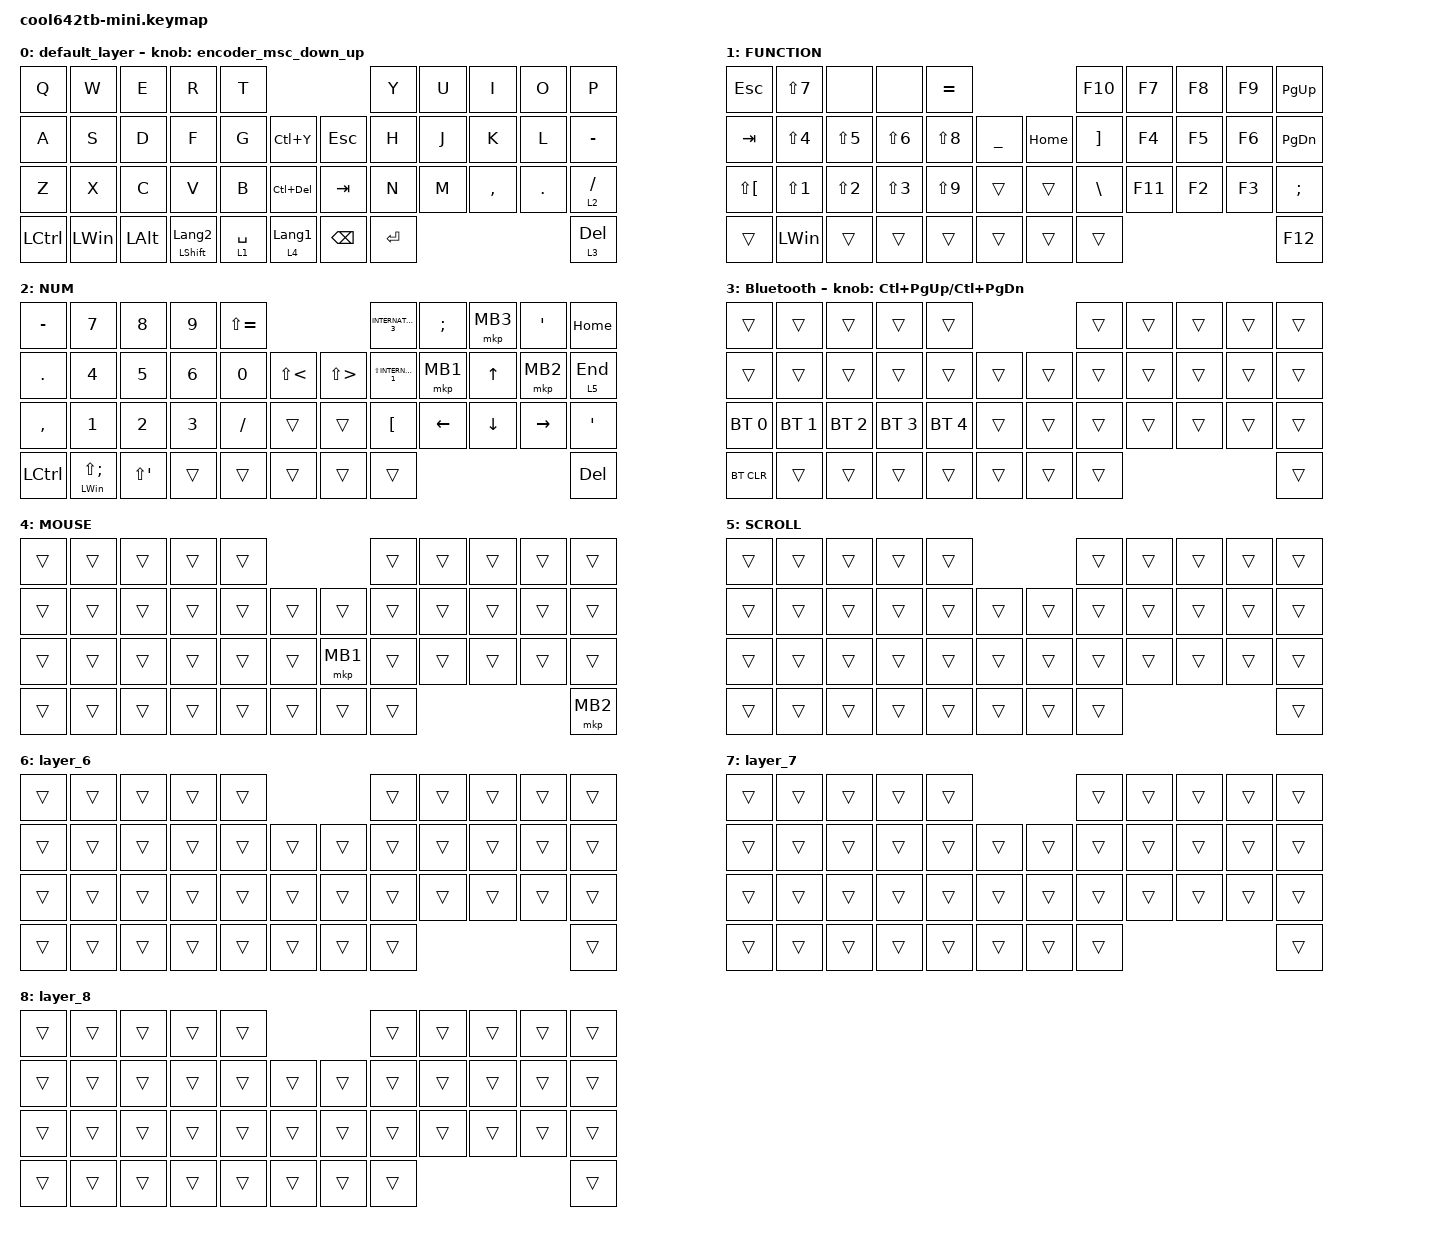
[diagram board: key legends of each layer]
#include <behaviors.dtsi>
#include <dt-bindings/zmk/bt.h>
#include <dt-bindings/zmk/keys.h>
#include <dt-bindings/zmk/pointing.h>

#define MOUSE 4
#define SCROLL 5
#define NUM 6
#define ZMK_POINTING_DEFAULT_SCRL_VAL 80

&mt {
    flavor = "balanced";
    quick-tap-ms = <0>;
};

/ {
    combos { compatible = "zmk,combos"; };

    behaviors {
        encoder_msc_down_up: encoder_msc_down_up {
            compatible = "zmk,behavior-sensor-rotate";
            label = "ENCODER_MSC_DOWN_UP";
            #sensor-binding-cells = <0>;
            bindings = <&msc SCRL_UP>, <&msc SCRL_DOWN>;

            tap-ms = <20>;
        };
    };

    keymap {
        compatible = "zmk,keymap";

        default_layer {
            bindings = <
&kp Q      &kp W         &kp E         &kp R                      &kp T                                             &kp Y      &kp U  &kp I      &kp O    &kp P
&kp A      &kp S         &kp D         &kp F                      &kp G        &kp LC(Y)             &kp ESC        &kp H      &kp J  &kp K      &kp L    &kp MINUS
&kp Z      &kp X         &kp C         &kp V                      &kp B        &kp LC(DEL)           &kp TAB        &kp N      &kp M  &kp COMMA  &kp DOT  &lt 2 SLASH
&kp LCTRL  &kp LEFT_WIN  &kp LEFT_ALT  &mt LEFT_SHIFT LANGUAGE_2  &lt 1 SPACE  &lt 4 LANGUAGE_1      &kp BACKSPACE  &kp ENTER                             &lt 3 DELETE
            >;

            sensor-bindings = <&encoder_msc_down_up>;
        };

        FUNCTION {
            bindings = <
&kp ESCAPE            &kp LS(NUMBER_7)  &none             &none             &kp EQUAL                            &kp F10            &kp F7   &kp F8  &kp F9  &kp PAGE_UP
&kp TAB               &kp LS(NUMBER_4)  &kp LS(N5)        &kp LS(NUMBER_6)  &kp LS(N8)  &kp UNDER      &kp HOME  &kp RIGHT_BRACKET  &kp F4   &kp F5  &kp F6  &kp PAGE_DOWN
&kp LS(LEFT_BRACKET)  &kp LS(NUMBER_1)  &kp LS(NUMBER_2)  &kp LS(NUMBER_3)  &kp LS(N9)  &trans         &trans    &kp BACKSLASH      &kp F11  &kp F2  &kp F3  &kp SEMICOLON
&trans                &kp LEFT_WIN      &trans            &trans            &trans      &trans         &trans    &trans                                      &kp F12
            >;
        };

        NUM {
            bindings = <
&kp MINUS   &kp NUMBER_7                &kp NUMBER_8  &kp NUMBER_9  &kp LS(EQUAL)                              &kp INTERNATIONAL_3      &kp SEMICOLON   &mkp MB3        &kp SQT          &kp HOME
&kp PERIOD  &kp NUMBER_4                &kp NUMBER_5  &kp NUMBER_6  &kp NUMBER_0   &kp LS(LT)      &kp LS(GT)  &kp LS(INTERNATIONAL_1)  &mkp MB1        &kp UP_ARROW    &mkp MB2         &lt 5 END
&kp COMMA   &kp NUMBER_1                &kp NUMBER_2  &kp NUMBER_3  &kp SLASH      &trans          &trans      &kp LEFT_BRACKET         &kp LEFT_ARROW  &kp DOWN_ARROW  &kp RIGHT_ARROW  &kp SQT
&kp LCTRL   &mt LEFT_WIN LS(SEMICOLON)  &kp LS(SQT)   &trans        &trans         &trans          &trans      &trans                                                                    &kp DELETE
            >;
        };

        Bluetooth {
            bindings = <
&trans        &trans        &trans        &trans        &trans                            &trans  &trans  &trans  &trans  &trans
&trans        &trans        &trans        &trans        &trans        &trans      &trans  &trans  &trans  &trans  &trans  &trans
&bt BT_SEL 0  &bt BT_SEL 1  &bt BT_SEL 2  &bt BT_SEL 3  &bt BT_SEL 4  &trans      &trans  &trans  &trans  &trans  &trans  &trans
&bt BT_CLR    &trans        &trans        &trans        &trans        &trans      &trans  &trans                          &trans
            >;

            sensor-bindings = <&inc_dec_kp LC(PAGE_UP) LC(PAGE_DOWN)>;
        };

        MOUSE {
            bindings = <
&trans  &trans  &trans  &trans  &trans                        &trans  &trans  &trans  &trans  &trans
&trans  &trans  &trans  &trans  &trans  &trans      &trans    &trans  &trans  &trans  &trans  &trans
&trans  &trans  &trans  &trans  &trans  &trans      &mkp MB1  &trans  &trans  &trans  &trans  &trans
&trans  &trans  &trans  &trans  &trans  &trans      &trans    &trans                          &mkp MB2
            >;
        };

        SCROLL {
            bindings = <
&trans  &trans  &trans  &trans  &trans                      &trans  &trans  &trans  &trans  &trans
&trans  &trans  &trans  &trans  &trans  &trans      &trans  &trans  &trans  &trans  &trans  &trans
&trans  &trans  &trans  &trans  &trans  &trans      &trans  &trans  &trans  &trans  &trans  &trans
&trans  &trans  &trans  &trans  &trans  &trans      &trans  &trans                          &trans
            >;
        };

        layer_6 {
            bindings = <
&trans  &trans  &trans  &trans  &trans                      &trans  &trans  &trans  &trans  &trans
&trans  &trans  &trans  &trans  &trans  &trans      &trans  &trans  &trans  &trans  &trans  &trans
&trans  &trans  &trans  &trans  &trans  &trans      &trans  &trans  &trans  &trans  &trans  &trans
&trans  &trans  &trans  &trans  &trans  &trans      &trans  &trans                          &trans
            >;
        };

        layer_7 {
            bindings = <
&trans  &trans  &trans  &trans  &trans                      &trans  &trans  &trans  &trans  &trans
&trans  &trans  &trans  &trans  &trans  &trans      &trans  &trans  &trans  &trans  &trans  &trans
&trans  &trans  &trans  &trans  &trans  &trans      &trans  &trans  &trans  &trans  &trans  &trans
&trans  &trans  &trans  &trans  &trans  &trans      &trans  &trans                          &trans
            >;
        };

        layer_8 {
            bindings = <
&trans  &trans  &trans  &trans  &trans                      &trans  &trans  &trans  &trans  &trans
&trans  &trans  &trans  &trans  &trans  &trans      &trans  &trans  &trans  &trans  &trans  &trans
&trans  &trans  &trans  &trans  &trans  &trans      &trans  &trans  &trans  &trans  &trans  &trans
&trans  &trans  &trans  &trans  &trans  &trans      &trans  &trans                          &trans
            >;
        };
    };
};
